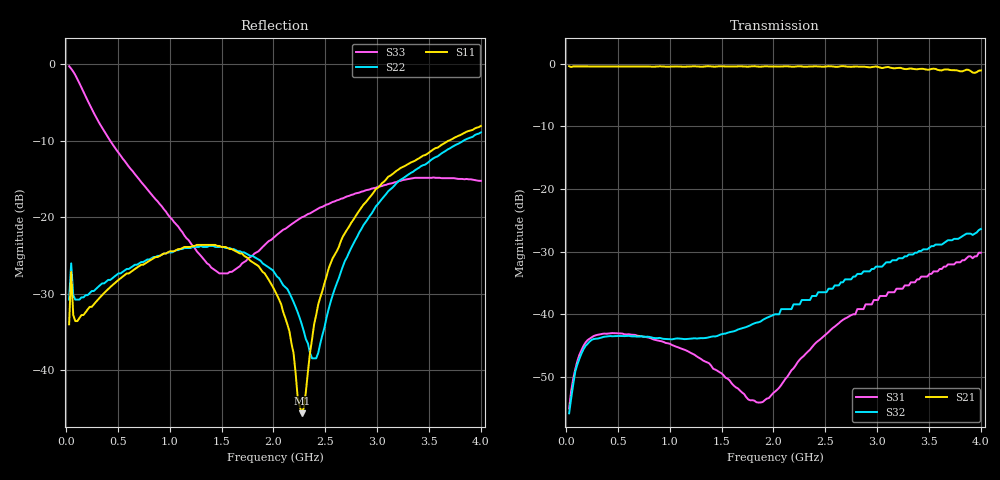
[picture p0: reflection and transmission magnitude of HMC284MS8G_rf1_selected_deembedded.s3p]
!Hittite Microwave Corporation
!12 Elizabeth Drive
!Chelmsford, MA 01824
!Tel: 978-250-3343
!Fax: 978-250-3373
!Device: HMC284MS8G, DC-3.5 GHz SPDT Non-Reflective Switch in 8-lead Grounded Base MSOP Package
!Misc: Room Temp, Port1=RFC, Port2=RF1, Port3=RF2, RF1 ON, Vdc=+5V
# MHZ S MA R 50
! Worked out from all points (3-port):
!   201 points, 30 MHz to 4 GHz, reference 50 ohm
!   strongest paths, dB at 30 MHz, 1.022 GHz, 2.015 GHz, 3.007 GHz, 4 GHz:
!     S21: -0.4, -0.5, -0.4, -0.5, -1.1
!     S32: -55.8, -44.0, -40.0, -32.4, -26.4
!     S31: -55.0, -44.9, -52.3, -37.7, -30.2
!   lowest |S11| = -45.6 dB at 2.273 GHz (marker M1), VSWR 1.01, Z = 50.4 + j0.377 ohm
!   |S11| at or under -10 dB: start of sweep to 3.689 GHz
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30  0.02 14.3  0.955 -0.8  0.001789 33.9
    0.955 -0.8  0.029 6.9  0.001635 32.8
    0.001769 34.8  0.001621 32.5  0.97 -11.4
49.85  0.044 -53.6  0.939 1.7  0.002455 40.4
       0.94 1.7  0.05 -46.1  0.002168 44.1
       0.002444 40.8  0.002136 43.6  0.934 -18.3
89.55  0.021 13.2  0.95 -0.6  0.003664 44.1
       0.951 -0.6  0.029 8.7  0.003504 47.7
       0.003642 43.9  0.003506 46.2  0.849 -30.8
427  0.035 21.7  0.948 -0.5  0.006971 23.8
     0.948 -0.6  0.039 23.1  0.006641 36.6
     0.007061 23.3  0.006706 36.0  0.315 -71.8
1479.05  0.065 -13.6  0.951 -1.1  0.003439 37.7
         0.953 -1.2  0.064 11.1  0.006845 93.4
         0.003456 37.7  0.006838 93.2  0.043 -27.6
2015  0.033 -27.9  0.951 -2.1  0.002439 129.0
      0.95 -2.1  0.043 5.7  0.01 129.6
      0.002413 129.3  0.01 129.2  0.075 33.1
2273.05  0.005247 45.5  0.95 -2.9  0.004526 158.8
         0.951 -2.9  0.02 19.1  0.013 142.2
         0.004513 158.4  0.013 141.7  0.1 41.5
2412  0.023 122.3  0.949 -3.2  0.005897 165.4
      0.952 -3.2  0.012 83.3  0.014 147.3
      0.005957 165.2  0.014 147.3  0.112 44.3
2749.45  0.092 120.5  0.943 -4.2  0.009918 173.4
         0.944 -4.4  0.063 139.0  0.02 157.9
         0.009852 173.8  0.019 158.3  0.14 48.6
4000  0.395 88.9  0.874 -10.9  0.031 -176.2
      0.882 -10.2  0.358 108.5  0.047 175.5
      0.031 -176.0  0.048 175.5  0.173 47.3
